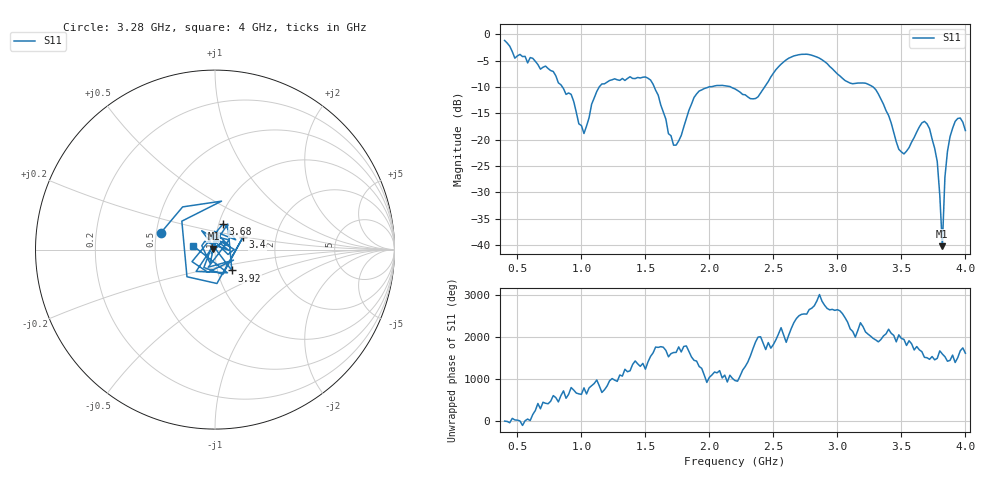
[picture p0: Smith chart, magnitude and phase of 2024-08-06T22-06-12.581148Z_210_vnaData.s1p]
!Created with skrf (http://scikit-rf.org).
# Hz S RI R 50.0
!freq ReS11 ImS11
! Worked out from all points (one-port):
!   181 points, 400 MHz to 4 GHz, reference 50 ohm
!   lowest |S11| = -40.2 dB at 3.82 GHz (marker M1), VSWR 1.02, Z = 49.1 + j0.452 ohm
!   |S11| at or under -10 dB: 852.3 MHz to 1.139 GHz (286.3 MHz wide, 28.8 % of centre); 1.57 GHz to 1.992 GHz (422.8 MHz wide, 23.7 % of centre); 3.281 GHz to end of sweep (the widest 3 of 4)
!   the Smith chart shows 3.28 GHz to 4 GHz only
!   S11 on the Smith chart (normalised r, x): 3.28 GHz: 0.53, +0.11; 3.4 GHz: 1.35, +0.19; 3.68 GHz: 1.05, +0.31; 3.92 GHz: 1.17, -0.28; 4 GHz: 0.78, +0.03
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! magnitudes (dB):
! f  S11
! 400 MHz  -1.1
! 480 MHz  -4.5
! 720 MHz  -6.0
! 860 MHz  -10.3
! 920 MHz  -11.4
! 1.02 GHz  -18.8
! 1.14 GHz  -9.9
! 1.3 GHz  -8.7
! 1.54 GHz  -8.7
! 1.72 GHz  -21.0
! 1.76 GHz  -20.2
! 1.92 GHz  -10.7
! 2.2 GHz  -10.3
! 2.36 GHz  -12.2
! 2.66 GHz  -4.1
! 2.86 GHz  -4.5
! 3.1 GHz  -9.2
! 3.28 GHz  -10.0
! 3.4 GHz  -15.4
! 3.48 GHz  -21.8
! 3.56 GHz  -21.5
! 3.68 GHz  -16.5
! 3.78 GHz  -24.1
! 3.82 GHz  -40.2
! 3.84 GHz  -27.1
! 3.86 GHz  -22.2
! 3.92 GHz  -16.5
! 4 GHz  -18.3
